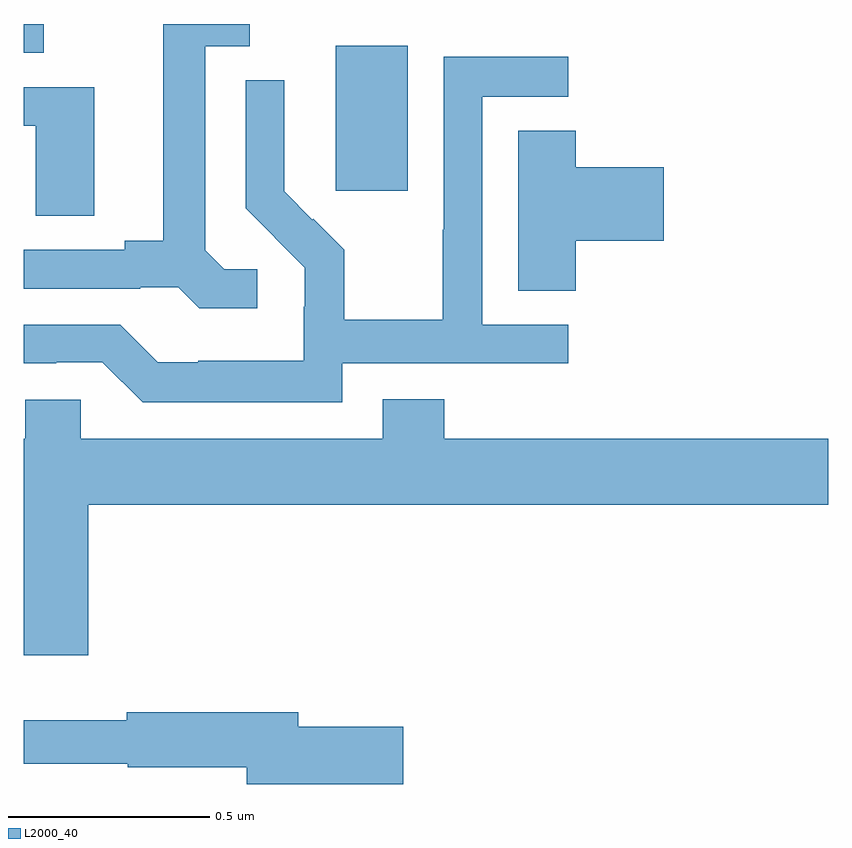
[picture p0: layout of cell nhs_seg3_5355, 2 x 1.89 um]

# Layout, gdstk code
import gdstk
lib = gdstk.Library(unit=1e-6, precision=1e-09)
def R(c, l, rs):  # rectangles x0, y0, x1, y1
    for r in rs: c.add(gdstk.rectangle(r[:2], r[2:], *l))
def P(c, l, *ps):  # polygons
    for p in ps: c.add(gdstk.Polygon(p, *l))
L2000_40 = (2000, 40)

nhs_seg3_5355 = lib.new_cell('nhs_seg3_5355')
R(nhs_seg3_5355, L2000_40, [(177.776,746.985,177.955,747.346), (177,747.328,177.049,747.4)])
P(nhs_seg3_5355, L2000_40, [(177.58,746.79),(177.498,746.79),(177.451,746.837),(177.451,747.345),(177.562,747.345),(177.562,747.4),(177.347,747.4),(177.347,746.861),(177.251,746.861),(177.251,746.838),(177,746.838),(177,746.742),(177.29,746.742),(177.29,746.745),(177.384,746.745),(177.436,746.693),(177.58,746.693)],
  [(177.792,746.556),(178.354,746.556),(178.354,746.652),(178.14,746.652),(178.14,747.219),(178.354,747.219),(178.354,747.318),(178.044,747.318),(178.044,746.888),(178.042,746.888),(178.042,746.665),(177.797,746.665),(177.797,746.839),(177.72,746.916),(177.717,746.913),(177.647,746.984),(177.647,747.106),(177.648,747.106),(177.648,747.26),(177.552,747.26),(177.552,746.942),(177.625,746.869),(177.624,746.868),(177.698,746.794),(177.698,746.697),(177.696,746.697),(177.696,746.563),(177.433,746.563),(177.433,746.559),(177.333,746.559),(177.24,746.652),(177,746.652),(177,746.556),(177.08,746.556),(177.08,746.559),(177.195,746.559),(177.295,746.459),(177.792,746.459)],
  [(177.175,747.243),(177,747.243),(177,747.147),(177.03,747.147),(177.03,746.923),(177.175,746.923)],
  [(178.373,746.861),(178.591,746.861),(178.591,747.044),(178.373,747.044),(178.373,747.134),(178.229,747.134),(178.229,746.737),(178.373,746.737)],
  [(177.16,746.204),(179,746.204),(179,746.368),(178.046,746.368),(178.046,746.467),(177.893,746.467),(177.893,746.368),(177.141,746.368),(177.141,746.466),(177.003,746.466),(177.003,746.368),(177,746.368),(177,745.83),(177.16,745.83)],
  [(177.943,745.652),(177.682,745.652),(177.682,745.688),(177.256,745.688),(177.256,745.669),(177,745.669),(177,745.56),(177.258,745.56),(177.258,745.552),(177.554,745.552),(177.554,745.51),(177.943,745.51)])

lib.write_gds('nhs_seg3_5355.gds')
